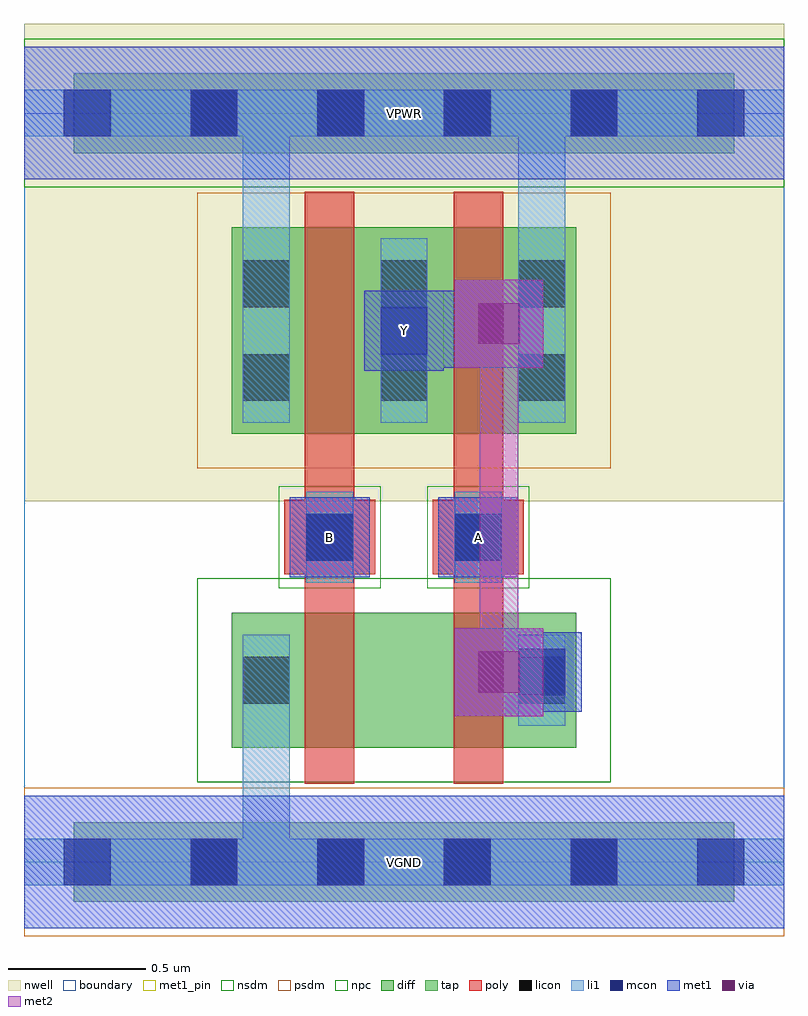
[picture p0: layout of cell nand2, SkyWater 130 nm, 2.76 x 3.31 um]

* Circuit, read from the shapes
.subckt nand2 A B VGND VPWR Y
XM1 n1 B VGND VGND sky130_fd_pr__nfet_01v8 w=0.49 l=0.18
XM2 Y A n1 VGND sky130_fd_pr__nfet_01v8 w=0.49 l=0.18
XM3 Y B VPWR VPWR sky130_fd_pr__pfet_01v8 w=0.75 l=0.18
XM4 VPWR A Y VPWR sky130_fd_pr__pfet_01v8 w=0.75 l=0.18
.ends

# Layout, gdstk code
import gdstk
lib = gdstk.Library(unit=1e-6, precision=1e-09)
def R(c, l, rs):  # rectangles x0, y0, x1, y1
    for r in rs: c.add(gdstk.rectangle(r[:2], r[2:], *l))
def A(c, l, x, y, w, h, nx, ny, dx, dy):  # array of equal rectangles
    R(c, l, [(x+i*dx, y+j*dy, x+i*dx+w, y+j*dy+h) for i in range(nx) for j in range(ny)])
nwell = (64, 20)
diff = (65, 20)
tap = (65, 44)
poly = (66, 20)
licon = (66, 44)
li1 = (67, 20)
mcon = (67, 44)
met1_pin = (68, 16)
met1 = (68, 20)
via = (68, 44)
met2 = (69, 20)
nsdm = (93, 44)
psdm = (94, 20)
npc = (95, 20)
boundary = (235, 4)

nand2 = lib.new_cell('nand2')
R(nand2, nwell, [(0,1.31,2.76,3.045)])
R(nand2, diff, [(0.755,0.415,2.005,0.905), (0.755,1.555,2.005,2.305)])
R(nand2, tap, [(0.18,-0.145,2.58,0.145), (0.18,2.575,2.58,2.865)])
R(nand2, poly, [(1.02,0.285,1.2,2.435), (1.56,0.285,1.74,2.435), (0.945,1.045,1.275,1.315), (1.485,1.045,1.815,1.315)])
A(nand2, licon, 0.605, -0.085, 0.17, 0.17, 4, 2, 0.46, 2.72)
A(nand2, licon, 0.795, 1.675, 0.17, 0.17, 3, 2, 0.5, 0.34)
R(nand2, licon, [(0.795,0.575,0.965,0.745), (1.795,0.575,1.965,0.745), (1.025,1.095,1.195,1.265), (1.565,1.095,1.735,1.265)])
A(nand2, li1, 0.795, 1.595, 0.17, 0.67, 3, 1, 0.5, 0)
R(nand2, li1, [(0,-0.085,2.76,0.085), (0.795,-0.085,0.965,0.825), (0.795,0.495,0.965,0.825), (1.795,0.495,1.965,0.825), (1.025,1.015,1.195,1.345), (1.565,1.015,1.735,1.345), (0.795,1.595,0.965,2.805), (1.795,1.595,1.965,2.805), (0,2.635,2.76,2.805)])
A(nand2, mcon, 0.145, -0.085, 0.17, 0.17, 6, 2, 0.46, 2.72)
R(nand2, mcon, [(1.795,0.605,1.965,0.775), (1.025,1.095,1.195,1.265), (1.565,1.095,1.735,1.265), (1.295,1.845,1.465,2.015)])
R(nand2, met1_pin, [(0,-0.24,2.76,0.24), (0.965,1.035,1.255,1.325), (1.505,1.035,1.795,1.325), (1.235,1.785,1.525,2.075), (0,2.48,2.76,2.96)])
R(nand2, met1, [(0,-0.24,2.76,0.24), (1.565,0.53,1.885,0.85), (1.735,0.545,2.025,0.835), (1.655,0.62,1.95,0.76), (0.965,1.035,1.255,1.325), (1.505,1.035,1.795,1.325), (1.235,1.785,1.525,2.075), (1.525,1.795,1.565,2.075), (1.565,1.795,1.885,2.115), (1.31,1.885,1.45,2.025), (1.31,1.885,1.795,2.025), (0,2.48,2.76,2.96)])
R(nand2, via, [(1.65,0.615,1.8,0.765), (1.65,1.88,1.8,2.03)])
R(nand2, met2, [(1.565,0.53,1.885,0.85), (1.655,0.62,1.795,2.025), (1.565,1.795,1.885,2.115)])
R(nand2, nsdm, [(0.63,0.29,2.13,1.03), (0,2.45,2.76,2.99)])
R(nand2, psdm, [(0,-0.27,2.76,0.27), (0.63,1.43,2.13,2.43)])
R(nand2, npc, [(0.925,0.995,1.295,1.365), (1.465,0.995,1.835,1.365)])
R(nand2, boundary, [(0,0,2.76,2.72)])
nand2.add(gdstk.Label('A', (1.65,1.18), layer=68, texttype=5))
nand2.add(gdstk.Label('B', (1.11,1.18), layer=68, texttype=5))
nand2.add(gdstk.Label('Y', (1.38,1.93), layer=68, texttype=5))
nand2.add(gdstk.Label('VPWR', (1.38,2.72), layer=68, texttype=5))
nand2.add(gdstk.Label('VGND', (1.38,0), layer=68, texttype=5))
nand2.add(gdstk.Label('A', (1.65,1.18), layer=68, texttype=16))
nand2.add(gdstk.Label('B', (1.11,1.18), layer=68, texttype=16))
nand2.add(gdstk.Label('Y', (1.38,1.93), layer=68, texttype=16))
nand2.add(gdstk.Label('VPWR', (1.38,2.72), layer=68, texttype=16))
nand2.add(gdstk.Label('VGND', (1.38,0), layer=68, texttype=16))

lib.write_gds('nand2.gds')
